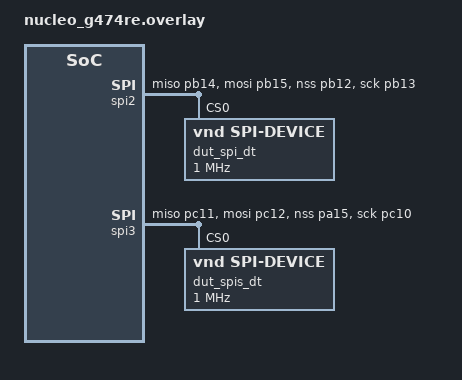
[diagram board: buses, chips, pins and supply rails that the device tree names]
/*
 * SPDX-FileCopyrightText: Copyright (c) 2026 STMicroelectronics
 * SPDX-License-Identifier: Apache-2.0
 */

/* The two SPI instances need to be connected as follows:
 * CN10:28 (SPI2 MISO) to CN7:2 (SPI3 MISO)
 * CN10:26 (SPI2 MOSI) to CN7:3 (SPI3 MOSI)
 * CN10:16 (SPI2 NSS) to CN7:17 (SPI3 NSS)
 * CN10:30 (SPI2 SCK) to CN7:1 (SPI3 SCK)
 */

&spi2 {
	pinctrl-0 = <&spi2_miso_pb14 &spi2_mosi_pb15 &spi2_nss_pb12 &spi2_sck_pb13>;
	pinctrl-names = "default";
	interrupts = <36 1>;
	status = "okay";

	dut_spi_dt: test-spi-dev@0 {
		compatible = "vnd,spi-device";
		spi-max-frequency = <DT_FREQ_M(1)>;
		reg = <0>;
	};
};

dut_spis: &spi3 {
	pinctrl-0 = <&spi3_miso_pc11 &spi3_mosi_pc12 &spi3_nss_pa15 &spi3_sck_pc10>;
	pinctrl-names = "default";
	interrupts = <51 0>;
	status = "okay";

	dut_spis_dt: test-spi-dev@0 {
		compatible = "vnd,spi-device";
		spi-max-frequency = <DT_FREQ_M(1)>;
		reg = <0>;
	};
};
